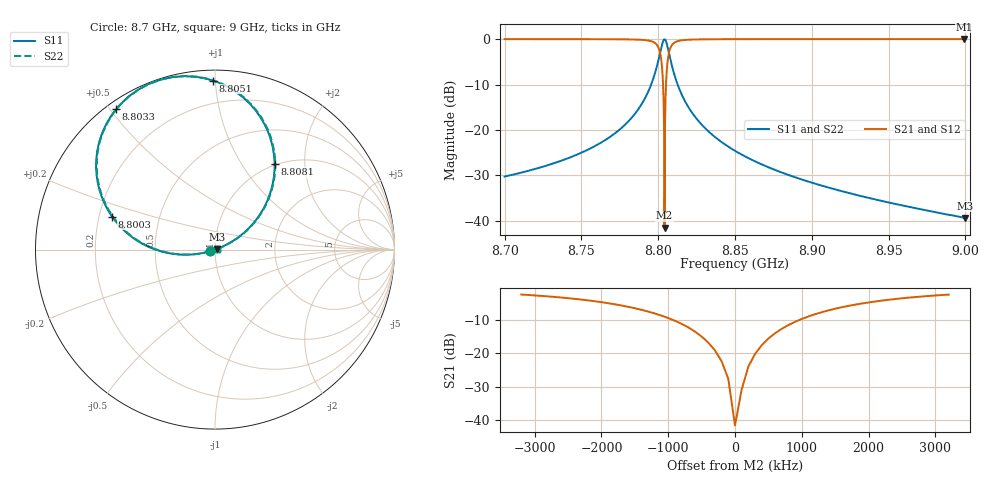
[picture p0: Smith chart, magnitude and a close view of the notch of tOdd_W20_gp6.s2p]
! Sonnet Data File
! From: emgraph Version : 16.52
! From Emgraph Data: transmon_trial2
! Data File Written: 10/20/2017 09:16:37
!< HDATE 10/19/2017 21:42:14
!< MDATE 10/19/2017 21:42:14
!< PARAMS
!< Lj = 15.24
!< Gap = 6.0
!< Width = 20.0
!< Pwidth = 2000.0
!< END PARAMS
# GHZ S MA R 39.00000
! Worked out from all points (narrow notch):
!   3001 points, 8.7 GHz to 9 GHz, reference 39 ohm
!   highest |S21| = 0.00 dB at 8.9993 GHz (marker M1); lowest = -41.5 dB at 8.8041 GHz (marker M2)
!   notch at M2: 41.5 dB deep, 538 kHz wide at half that depth
!   lowest |S11| = -39.4 dB at 9 GHz (marker M3), VSWR 1.02, Z = 39.8 + j0.281 ohm
!   |S11| at or under -10 dB: start of sweep to 8.7954 GHz; 8.8126 GHz to end of sweep
!   |S22| runs from -39.4 to 0.0 dB; largest |S21 - S12| = 0
!   S11 on the Smith chart (normalised r, x): 8.7 GHz: 0.94, -0.02; 8.8003 GHz: 0.25, +0.15; 8.8033 GHz: 0.03, +0.52; 8.8051 GHz: 0.06, +0.99; 8.8081 GHz: 0.98, +1.42; 9 GHz: 1.02, +0.01
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8.7  0.03068 -161.7  0.9995 -71.7  0.9995 -71.7  0.03068 -161.7
!< P1 F=8.7 Eeff=(4.9947984 -5.8807e-5) Z0=(38.4974817 -1.2545e-4) R=0.0 C=0.0
!< P2 F=8.7 Eeff=(4.9947984 -5.8807e-5) Z0=(38.4974817 -1.2545e-4) R=0.0 C=0.0
8.75  0.05621 -163.5  0.9984 -73.6  0.9984 -73.6  0.05621 -163.7
8.7694  0.08567 -165.3  0.9963 -75.4  0.9963 -75.4  0.08567 -165.6
8.7835  0.1411 -168.6  0.9899 -78.7  0.9899 -78.7  0.1411 -168.9
8.7939  0.2733 -176.5  0.9615 -86.6  0.9615 -86.6  0.2733 -176.8
8.7977  0.4105 175.1  0.9109 -95.0  0.9109 -95.0  0.4105 174.7
8.8  0.5726 164.3  0.8176 -105.7  0.8176 -105.7  0.5726 163.9
8.8003  0.6014 162.2  0.7964 -107.7  0.7964 -107.7  0.6014 161.8
8.802  0.8025 145.7  0.5907 -124.1  0.5907 -124.1  0.8025 145.2
8.8033  0.9569 125.2  0.2726 -143.9  0.2726 -143.9  0.9569 124.8
8.8041  0.9945 109.8  0.00841 -119.8  0.00841 -119.8  0.9945 109.4
8.8051  0.9414 90.6  0.3223 -0.5  0.3223 -0.5  0.9414 90.2
8.8063  0.7926 72.3  0.6039 -18.4  0.6039 -18.4  0.7926 71.8
8.8081  0.5819 55.2  0.8109 -35.2  0.8109 -35.2  0.5819 54.8
8.8115  0.3594 40.6  0.9324 -49.8  0.9324 -49.8  0.3594 40.1
8.8172  0.2111 31.6  0.9772 -58.7  0.9772 -58.7  0.2111 31.1
8.8304  0.1052 25.4  0.9944 -65.0  0.9944 -65.0  0.1052 24.8
8.85  0.05896 22.6  0.9982 -67.8  0.9982 -67.8  0.05896 21.9
8.9  0.0263 20.4  0.9996 -70.0  0.9996 -70.0  0.0263 19.5
8.95  0.01592 19.6  0.9999 -71.0  0.9999 -71.0  0.01592 18.3
8.9993  0.01082 19.2  0.9999 -71.7  0.9999 -71.7  0.01082 17.3
9  0.01077 19.1  0.9999 -71.8  0.9999 -71.8  0.01077 17.3
